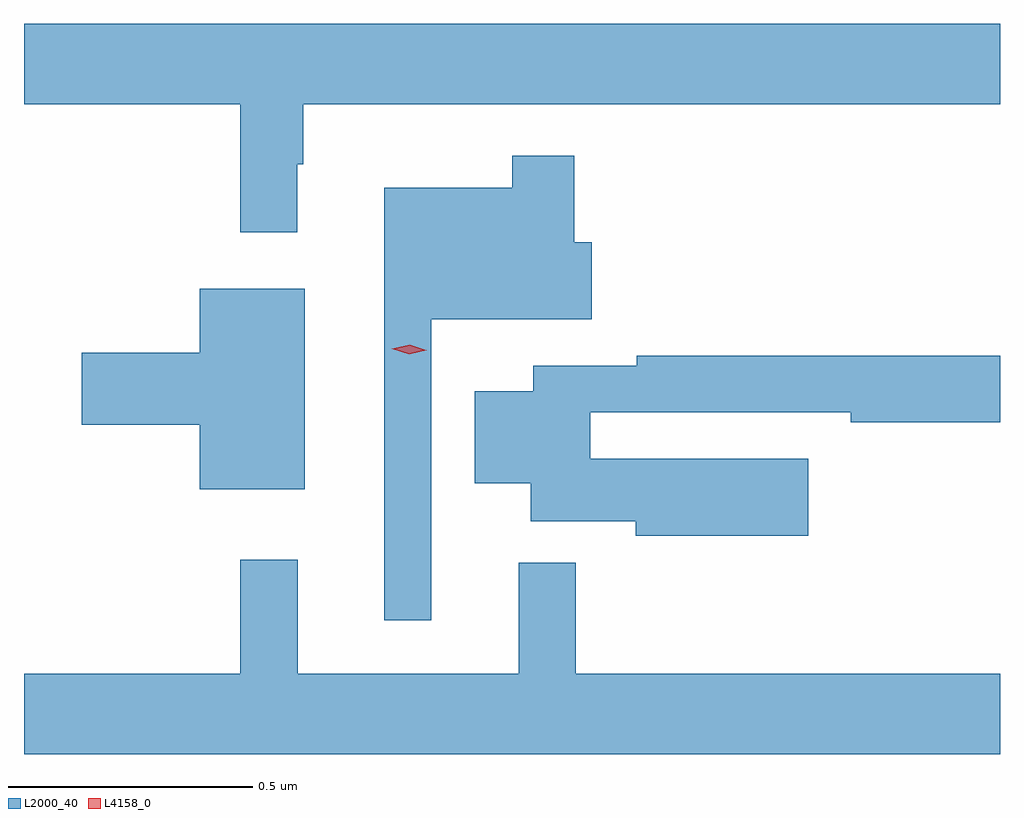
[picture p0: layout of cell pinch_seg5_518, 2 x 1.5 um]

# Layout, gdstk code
import gdstk
lib = gdstk.Library(unit=1e-6, precision=1e-09)
def P(c, l, *ps):  # polygons
    for p in ps: c.add(gdstk.Polygon(p, *l))
L2000_40 = (2000, 40)
L4158_0 = (4158, 0)

pinch_seg5_518 = lib.new_cell('pinch_seg5_518')
P(pinch_seg5_518, L2000_40, [(917.914,839.321),(917.926,839.321),(917.926,839.444),(919.354,839.444),(919.354,839.608),(917.354,839.608),(917.354,839.444),(917.797,839.444),(917.797,839.181),(917.914,839.181)],
  [(918.189,839.003),(918.517,839.003),(918.517,839.161),(918.482,839.161),(918.482,839.338),(918.354,839.338),(918.354,839.272),(918.092,839.272),(918.092,838.386),(918.189,838.386)],
  [(917.929,839.065),(917.714,839.065),(917.714,838.934),(917.472,838.934),(917.472,838.787),(917.714,838.787),(917.714,838.655),(917.929,838.655)],
  [(918.961,838.717),(918.514,838.717),(918.514,838.812),(919.048,838.812),(919.048,838.792),(919.354,838.792),(919.354,838.928),(918.61,838.928),(918.61,838.908),(918.398,838.908),(918.398,838.855),(918.278,838.855),(918.278,838.667),(918.392,838.667),(918.392,838.589),(918.608,838.589),(918.608,838.559),(918.961,838.559)],
  [(919.354,838.276),(918.485,838.276),(918.485,838.504),(918.368,838.504),(918.368,838.276),(917.915,838.276),(917.915,838.51),(917.797,838.51),(917.797,838.276),(917.354,838.276),(917.354,838.112),(919.354,838.112)])
P(pinch_seg5_518, L4158_0, [(918.143,838.931),(918.108,838.942),(918.108,838.942),(918.108,838.942),(918.144,838.951),(918.178,838.939),(918.179,838.939),(918.178,838.939)])

lib.write_gds('pinch_seg5_518.gds')
